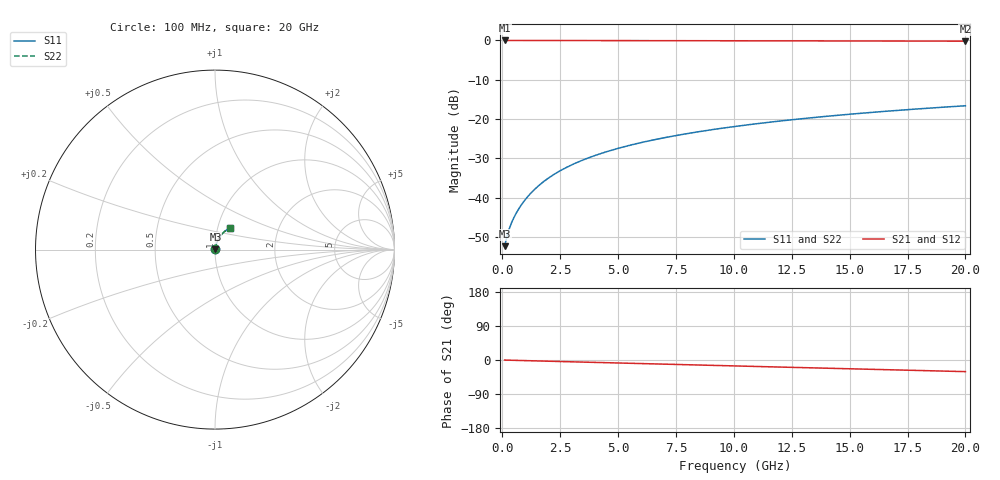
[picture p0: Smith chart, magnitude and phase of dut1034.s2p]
! Touchstone file exported from HFSS 2026.1.0
!  File:  C:/ffzhzh/LocalFiles/Ansys_Project_Files/temp_train_TMRDL_1034_1783160094_43440.aedt
!  Generated:  06:16:01 PM Jul  4, 2026
!  Design:  TMRDL
!  Project:  temp_train_TMRDL_1034_1783160094_43440
! Variables:
!  h_bsmrdl = 2um
!  h_ox = 20um
!  h_rdl = 5um
!  h_sub = 80um
!  h_tmrdl = 4.14um
!  h_tsv = 80um
!  h_via = 3um
!  l_bsmrdl = 300um
!  l_sub = 912.96um
!  l_tmrdl = 512.96um
!  m_sub = 200um
!  pitch = 33.5um
!  r_tsv = 6um
!  s_tmrdl = 10um
!  w_bsmrdl = 18um
!  w_sub = 500um
!  w_tmrdl = 23.16um
!  x_tsv_center1 = 524.54um
!  x_tsv_center2 = 842.54um
!  x_tsv_center3 = 1378.66um
!  x_tsv_center4 = 1696.66um
!  x_tsv_center5 = 2232.78um
!  x_tsv_center6 = 2550.78um
# GHz S MA R 50.000000
! Terminal data exported
! Port[1] = TM_RDL1_1_T1
! Port[2] = TM_RDL1_1_T2
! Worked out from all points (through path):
!   200 points, 100 MHz to 20 GHz, reference 50 ohm
!   highest |S21| = -0.02 dB at 100 MHz (marker M1); lowest = -0.2 dB at 20 GHz (marker M2)
!   group delay of S21, straight-line fit = 4.25 ps
!   lowest |S11| = -52.3 dB at 100 MHz (marker M3), VSWR 1.00, Z = 50.2 + j0.116 ohm
!   |S11| at or under -10 dB: start of sweep to end of sweep
!   |S22| runs from -52.3 to -16.6 dB; largest |S21 - S12| = 5.1e-15
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0.1  0.002425 28.6  0.9979 -0.2  0.9979 -0.2  0.002425 28.6
! Gamma 0 0 0 0
! Port Impedance 50 0 50 0
0.2  0.003209 43.2  0.9977 -0.3  0.9977 -0.3  0.003209 43.2
0.3  0.004026 50.7  0.9975 -0.5  0.9975 -0.5  0.004027 50.7
0.4  0.004814 55.5  0.9973 -0.7  0.9973 -0.7  0.004816 55.5
0.5  0.005587 59.2  0.9972 -0.8  0.9972 -0.8  0.00559 59.2
0.6  0.00636 62.1  0.9971 -1.0  0.9971 -1.0  0.006363 62.1
0.8  0.00793 66.5  0.997 -1.3  0.997 -1.3  0.007933 66.5
1  0.009537 69.5  0.9969 -1.6  0.9969 -1.6  0.00954 69.5
1.2  0.01117 71.6  0.9968 -1.9  0.9968 -1.9  0.01118 71.6
1.4  0.01283 73.1  0.9967 -2.3  0.9967 -2.3  0.01283 73.1
1.7  0.01533 74.6  0.9966 -2.7  0.9966 -2.7  0.01534 74.5
2.2  0.01953 75.8  0.9963 -3.5  0.9963 -3.5  0.01953 75.8
2.8  0.02454 76.3  0.9958 -4.5  0.9958 -4.5  0.02454 76.3
3.5  0.03033 76.2  0.9952 -5.6  0.9952 -5.6  0.03033 76.2
4.2  0.03604 75.7  0.9946 -6.7  0.9946 -6.7  0.03604 75.7
5  0.04244 74.9  0.9938 -7.9  0.9938 -7.9  0.04244 74.9
6.8  0.05643 72.7  0.9919 -10.7  0.9919 -10.7  0.05643 72.7
8.3  0.06773 70.8  0.9904 -13.0  0.9904 -13.0  0.06773 70.8
10.1  0.08092 68.5  0.9885 -15.8  0.9885 -15.8  0.08093 68.4
13.4  0.1043 64.1  0.985 -20.8  0.985 -20.8  0.1043 64.0
16.7  0.1265 59.6  0.9814 -25.8  0.9814 -25.8  0.1265 59.5
20  0.1476 55.0  0.9776 -30.7  0.9776 -30.7  0.1476 54.9
